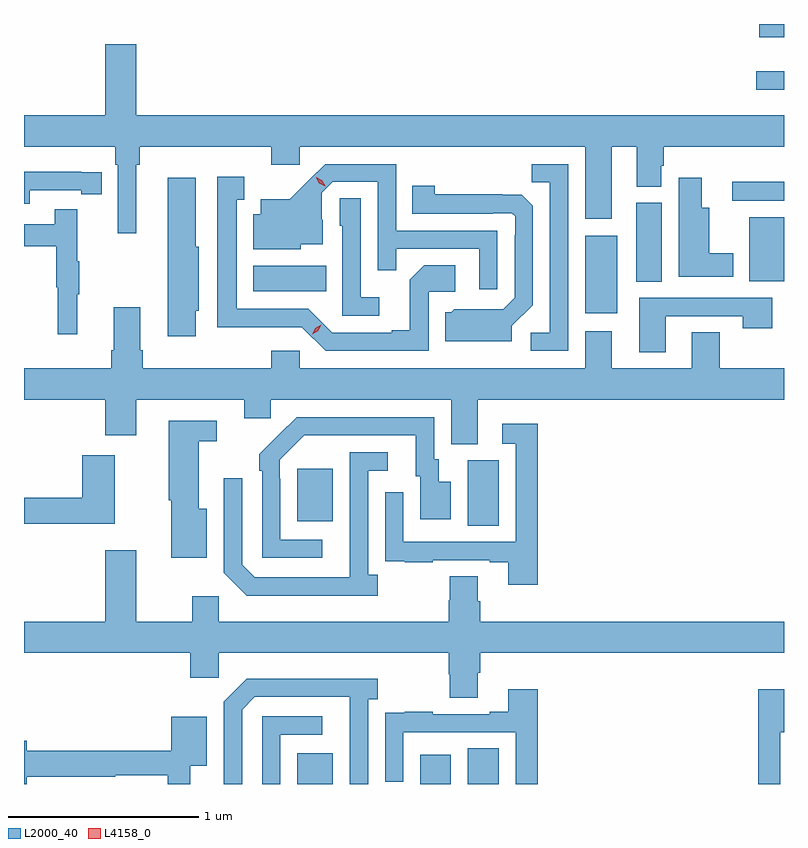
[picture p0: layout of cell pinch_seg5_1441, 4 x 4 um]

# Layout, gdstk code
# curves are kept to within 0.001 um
import gdstk
lib = gdstk.Library(unit=1e-6, precision=1e-09)
def R(c, l, rs):  # rectangles x0, y0, x1, y1
    for r in rs: c.add(gdstk.rectangle(r[:2], r[2:], *l))
def P(c, l, *ps):  # polygons
    for p in ps: c.add(gdstk.Polygon(p, *l))
L2000_40 = (2000, 40)
L4158_0 = (4158, 0)

pinch_seg5_1441 = lib.new_cell('pinch_seg5_1441')
R(pinch_seg5_1441, L2000_40, [(118.067,892.033,118.255,892.195), (118.715,892.033,118.876,892.186), (118.964,892.033,119.128,892.22), (118.964,893.392,119.128,893.736), (118.067,893.417,118.255,893.692), (119.582,894.51,119.752,894.919), (117.836,894.626,118.22,894.76), (119.852,894.676,119.986,895.092), (120.446,894.68,120.629,895.015), (120.357,895.104,120.629,895.202), (120.483,895.688,120.629,895.785), (120.5,895.964,120.629,896.033)])
P(pinch_seg5_1441, L2000_40, [(117.22,895.292),(117.239,895.292),(117.239,895.388),(117.929,895.388),(117.929,895.293),(118.08,895.293),(118.08,895.388),(119.582,895.388),(119.582,895.008),(119.722,895.008),(119.722,895.388),(119.855,895.388),(119.855,895.177),(119.983,895.177),(119.983,895.287),(119.996,895.287),(119.996,895.388),(120.629,895.388),(120.629,895.552),(117.22,895.552),(117.22,895.927),(117.056,895.927),(117.056,895.552),(116.629,895.552),(116.629,895.388),(117.11,895.388),(117.11,895.292),(117.123,895.292),(117.123,894.933),(117.22,894.933)],
  [(119.493,895.296),(119.302,895.296),(119.302,895.201),(119.397,895.201),(119.397,894.408),(119.295,894.408),(119.295,894.312),(119.493,894.312)],
  [(119.121,894.945),(118.587,894.945),(118.587,895.296),(118.214,895.296),(118.027,895.111),(117.875,895.111),(117.875,895.033),(117.836,895.033),(117.836,894.848),(118.086,894.848),(118.086,894.875),(118.201,894.875),(118.201,895.004),(118.197,895.004),(118.197,895.146),(118.254,895.203),(118.491,895.203),(118.491,894.736),(118.589,894.736),(118.589,894.849),(119.025,894.849),(119.025,894.636),(119.121,894.636)],
  [(116.658,895.158),(116.93,895.158),(116.93,895.138),(117.038,895.138),(117.038,895.254),(116.93,895.254),(116.93,895.255),(116.629,895.255),(116.629,895.086),(116.658,895.086)],
  [(118.758,894.624),(118.9,894.624),(118.9,894.764),(118.735,894.764),(118.659,894.688),(118.659,894.421),(118.565,894.421),(118.565,894.408),(118.251,894.408),(118.125,894.534),(117.748,894.534),(117.748,895.107),(117.787,895.107),(117.787,895.228),(117.647,895.228),(117.647,894.437),(118.092,894.438),(118.218,894.312),(118.758,894.312)],
  [(120.361,894.826),(120.235,894.826),(120.235,895.066),(120.196,895.066),(120.196,895.225),(120.074,895.225),(120.074,894.704),(120.361,894.704)],
  [(117.532,894.525),(117.55,894.525),(117.55,894.861),(117.532,894.861),(117.532,895.225),(117.386,895.225),(117.386,894.39),(117.532,894.39)],
  [(119.197,894.444),(119.307,894.554),(119.307,895.076),(119.248,895.135),(118.791,895.136),(118.791,895.183),(118.672,895.183),(118.672,895.035),(119.096,895.035),(119.096,895.038),(119.196,895.038),(119.214,895.02),(119.214,894.92),(119.211,894.92),(119.211,894.591),(119.151,894.531),(118.894,894.532),(118.878,894.516),(118.847,894.516),(118.847,894.362),(119.197,894.362)],
  [(118.498,894.595),(118.401,894.595),(118.401,895.115),(118.29,895.115),(118.29,894.972),(118.305,894.972),(118.305,894.498),(118.498,894.498)],
  [(116.909,894.611),(116.92,894.611),(116.92,894.785),(116.909,894.785),(116.909,895.057),(116.791,895.057),(116.791,894.978),(116.629,894.978),(116.629,894.862),(116.799,894.862),(116.799,894.648),(116.806,894.648),(116.806,894.399),(116.909,894.399)],
  [(120.007,894.495),(120.412,894.495),(120.412,894.432),(120.568,894.432),(120.568,894.591),(119.867,894.591),(119.867,894.306),(120.007,894.306)],
  [(119.017,894.056),(120.629,894.056),(120.629,894.22),(120.291,894.22),(120.291,894.41),(120.143,894.41),(120.143,894.22),(119.722,894.22),(119.722,894.415),(119.582,894.415),(119.582,894.22),(118.08,894.22),(118.08,894.313),(117.929,894.313),(117.929,894.22),(117.254,894.22),(117.254,894.316),(117.241,894.316),(117.241,894.541),(117.101,894.541),(117.101,894.316),(117.089,894.316),(117.089,894.22),(116.629,894.22),(116.629,894.056),(117.056,894.056),(117.056,893.868),(117.22,893.868),(117.22,894.056),(117.788,894.056),(117.788,893.958),(117.927,893.958),(117.927,894.056),(118.877,894.056),(118.877,893.821),(119.017,893.821)],
  [(118.198,893.319),(117.978,893.319),(117.978,893.639),(117.975,893.639),(117.975,893.739),(118.104,893.868),(118.691,893.868),(118.691,893.652),(118.715,893.652),(118.715,893.427),(118.876,893.427),(118.876,893.623),(118.813,893.623),(118.813,893.742),(118.788,893.742),(118.788,893.964),(118.064,893.964),(117.867,893.769),(117.867,893.681),(117.882,893.681),(117.882,893.223),(118.198,893.223)],
  [(117.592,893.482),(117.55,893.482),(117.55,893.838),(117.643,893.838),(117.643,893.946),(117.392,893.946),(117.392,893.526),(117.404,893.526),(117.404,893.225),(117.592,893.225)],
  [(119.333,893.929),(119.145,893.929),(119.145,893.823),(119.217,893.823),(119.217,893.307),(118.626,893.307),(118.626,893.569),(118.53,893.569),(118.53,893.314),(118.531,893.314),(118.531,893.205),(118.633,893.205),(118.633,893.199),(118.781,893.199),(118.781,893.211),(119.081,893.211),(119.081,893.199),(119.177,893.199),(119.177,893.082),(119.333,893.082)],
  [(118.492,893.134),(118.44,893.134),(118.44,893.682),(118.543,893.682),(118.543,893.778),(118.344,893.778),(118.343,893.121),(117.843,893.121),(117.777,893.187),(117.777,893.641),(117.681,893.641),(117.681,893.145),(117.802,893.024),(118.492,893.024)],
  [(117.106,893.764),(116.936,893.764),(116.936,893.54),(116.629,893.54),(116.629,893.404),(117.106,893.404)],
  [(119.017,892.618),(119.03,892.618),(119.03,892.724),(120.629,892.724),(120.629,892.888),(119.03,892.888),(119.03,892.994),(119.017,892.994),(119.017,893.126),(118.87,893.126),(118.87,893.001),(118.865,893.001),(118.865,892.888),(117.654,892.888),(117.654,893.02),(117.515,893.02),(117.515,892.888),(117.22,892.888),(117.22,893.263),(117.056,893.263),(117.056,892.888),(116.629,892.888),(116.629,892.724),(117.503,892.724),(117.503,892.593),(117.654,892.593),(117.654,892.724),(118.865,892.724),(118.865,892.611),(118.87,892.611),(118.87,892.486),(119.017,892.486)],
  [(117.777,892.425),(117.843,892.491),(118.343,892.491),(118.344,892.033),(118.44,892.033),(118.44,892.478),(118.492,892.478),(118.492,892.588),(117.802,892.588),(117.681,892.467),(117.681,892.033),(117.777,892.033)],
  [(120.609,892.305),(120.629,892.305),(120.629,892.531),(120.493,892.531),(120.493,892.033),(120.609,892.033)],
  [(119.333,892.531),(119.177,892.531),(119.177,892.414),(119.081,892.414),(119.081,892.401),(118.781,892.401),(118.781,892.414),(118.633,892.414),(118.633,892.407),(118.531,892.407),(118.531,892.298),(118.53,892.298),(118.53,892.044),(118.626,892.044),(118.626,892.305),(119.217,892.305),(119.217,892.033),(119.333,892.033)],
  [(117.978,892.293),(118.198,892.293),(118.198,892.389),(117.882,892.389),(117.882,892.033),(117.978,892.033)],
  [(116.644,892.072),(117.108,892.072),(117.108,892.08),(117.385,892.08),(117.385,892.033),(117.503,892.033),(117.503,892.13),(117.592,892.13),(117.592,892.387),(117.405,892.387),(117.405,892.208),(116.644,892.208),(116.644,892.261),(116.629,892.261),(116.629,892.033),(116.644,892.033)])
P(pinch_seg5_1441, L4158_0, [(118.214,895.18),(118.184,895.196),(118.167,895.225),(118.167,895.226),(118.167,895.226),(118.197,895.21),(118.215,895.181),(118.215,895.18)],
  [(118.145,894.399),(118.145,894.4),(118.162,894.432),(118.194,894.451),(118.194,894.451),(118.194,894.451),(118.177,894.418),(118.145,894.399)])

lib.write_gds('pinch_seg5_1441.gds')
